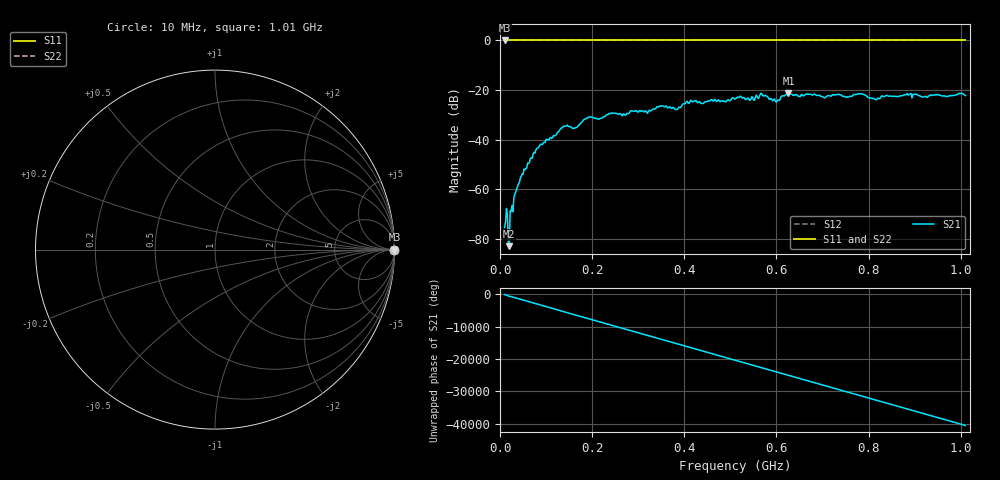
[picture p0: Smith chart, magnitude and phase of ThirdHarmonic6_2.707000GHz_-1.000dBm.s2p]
! 8/17/2025 6:31:13 AM
! C:\ANRITSUVNA\TEMP\TEMP.S2P
! CHANNEL.1
! TR.MEASUREMENT
! RAW.DATA
! RF.CORRECTION.OFF
! AVERAGING.OFF
! IF.BANDWIDTH: 5KHZ
! SWEEPTYPE:  FREQ.SWEEP(Linear)
! Reference Plane Port Info
! PORT:  PORT1  PORT2
! DISTANCE:  0  m  0  m
! TIME:  0  s  0  s
! PHASE.OFFSET:  0  deg.  0  deg.
! LOSS:  0  dB  0  dB
! REF.LOSS:  0  dB  0  dB
! REF.FREQ:  0  Hz  0  Hz
! Power Info
! POWER:  -20  dBm  -20  dBm
! EFF.POWER:  -20  dBm  -20  dBm
! SOURCE.ATTEN:  0  dB  0  dB
! TEST.ATTEN:  0  dB  0  dB
# GHZ S RI R 50.0
! FREQ.GHZ  S11RE  S11IM  S21RE  S21IM  S12RE  S12IM  S22RE  S22IM
!; PortSelection: Port_12
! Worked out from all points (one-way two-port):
!   501 points, 10 MHz to 1.01 GHz, reference 50 ohm
!   highest |S21| = -21.19 dB at 626 MHz (marker M1); lowest = -83.0 dB at 20 MHz (marker M2)
!   lowest |S11| = 0.0 dB at 10 MHz (marker M3)
!   |S11| at or under -10 dB: nowhere
!   |S22| runs from 0.0 to 0.0 dB; largest |S21 - S12| = 1.1
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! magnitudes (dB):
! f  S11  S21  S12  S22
! 10 MHz  0.0  -75.5  0.0  0.0
! 20 MHz  0.0  -83.0  0.0  0.0
! 22 MHz  0.0  -68.7  0.0  0.0
! 26 MHz  0.0  -66.6  0.0  0.0
! 40 MHz  0.0  -57.8  0.0  0.0
! 76 MHz  0.0  -45.4  0.0  0.0
! 136 MHz  0.0  -35.1  0.0  0.0
! 162 MHz  0.0  -35.4  0.0  0.0
! 178 MHz  0.0  -32.8  0.0  0.0
! 194 MHz  0.0  -30.9  0.0  0.0
! 344 MHz  0.0  -26.8  0.0  0.0
! 382 MHz  0.0  -27.8  0.0  0.0
! 416 MHz  0.0  -24.5  0.0  0.0
! 510 MHz  0.0  -23.6  0.0  0.0
! 568 MHz  0.0  -21.5  0.0  0.0
! 602 MHz  0.0  -24.0  0.0  0.0
! 626 MHz  0.0  -21.2  0.0  0.0
! 678 MHz  0.0  -22.0  0.0  0.0
! 784 MHz  0.0  -21.5  0.0  0.0
! 814 MHz  0.0  -23.7  0.0  0.0
! 844 MHz  0.0  -22.5  0.0  0.0
! 1.01 GHz  0.0  -22.3  0.0  0.0
